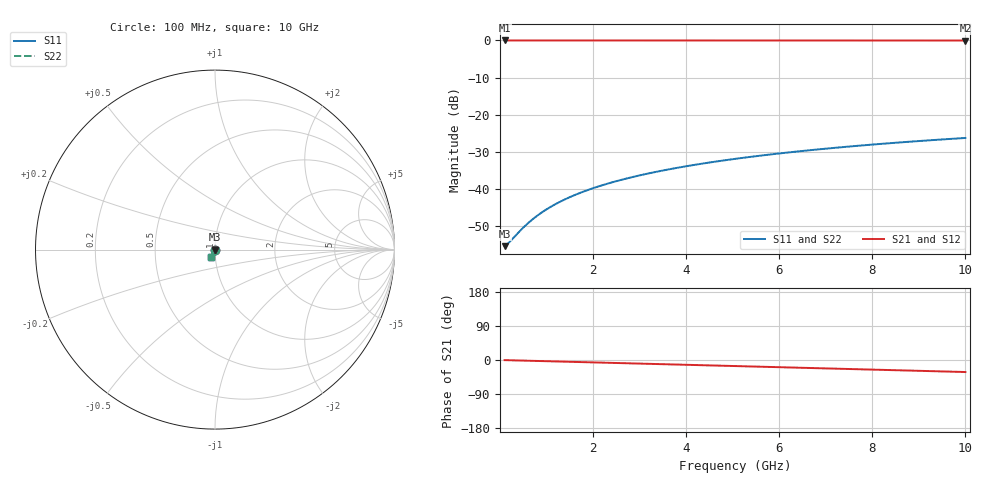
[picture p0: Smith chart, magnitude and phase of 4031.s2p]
# Hz S RI R 50.00
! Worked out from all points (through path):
!   100 points, 100 MHz to 10 GHz, reference 50 ohm
!   highest |S21| = -0.01 dB at 100 MHz (marker M1); lowest = 0.0 dB at 10 GHz (marker M2)
!   group delay of S21, straight-line fit = 8.82 ps
!   lowest |S11| = -55.5 dB at 100 MHz (marker M3), VSWR 1.00, Z = 50.2 - j0.0513 ohm
!   |S11| at or under -10 dB: start of sweep to end of sweep
!   |S22| runs from -55.5 to -26.3 dB; largest |S21 - S12| = 1e-14
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1e8  0.00161 -0.000511  0.9984 -0.0055  0.9984 -0.0055  0.00161 -0.000511
2e8  0.00161 -0.00102  0.9983 -0.011  0.9983 -0.011  0.00161 -0.00102
4e8  0.00158 -0.00204  0.9981 -0.022  0.9981 -0.022  0.00158 -0.00204
5e8  0.00156 -0.00256  0.998 -0.0275  0.998 -0.0275  0.00156 -0.00256
6e8  0.00153 -0.00307  0.9978 -0.033  0.9978 -0.033  0.00153 -0.00307
7e8  0.0015 -0.00358  0.9976 -0.0385  0.9976 -0.0385  0.0015 -0.00358
9e8  0.00141 -0.0046  0.9971 -0.0495  0.9971 -0.0495  0.00141 -0.0046
1.1e9  0.0013 -0.00562  0.9965 -0.0605  0.9965 -0.0605  0.0013 -0.00562
1.3e9  0.00116 -0.00663  0.9957 -0.0714  0.9957 -0.0714  0.00116 -0.00663
1.5e9  0.00101 -0.00765  0.9948 -0.0824  0.9948 -0.0824  0.00101 -0.00765
1.8e9  0.000731 -0.00916  0.9933 -0.0988  0.9933 -0.0988  0.000731 -0.00916
2.1e9  0.000404 -0.0107  0.9915 -0.1153  0.9915 -0.1153  0.000404 -0.0107
2.5e9  -0.00011 -0.0127  0.9887 -0.1371  0.9887 -0.1371  -0.00011 -0.0127
2.9e9  -0.000713 -0.0146  0.9854 -0.1589  0.9854 -0.1589  -0.000713 -0.0146
3.4e9  -0.00159 -0.0171  0.9805 -0.186  0.9805 -0.186  -0.00159 -0.0171
4.2e9  -0.00327 -0.0209  0.9712 -0.2292  0.9712 -0.2292  -0.00327 -0.0209
5.1e9  -0.00555 -0.0249  0.9585 -0.2772  0.9585 -0.2772  -0.00555 -0.0249
5.9e9  -0.00791 -0.0284  0.9451 -0.3194  0.9451 -0.3194  -0.00791 -0.0284
6.7e9  -0.0106 -0.0316  0.9298 -0.3609  0.9298 -0.3609  -0.0106 -0.0316
7.5e9  -0.0135 -0.0346  0.9127 -0.4018  0.9127 -0.4018  -0.0135 -0.0346
8.4e9  -0.0171 -0.0376  0.8913 -0.4469  0.8913 -0.4469  -0.0171 -0.0376
1e10  -0.0242 -0.042  0.8476 -0.5243  0.8476 -0.5243  -0.0242 -0.042
